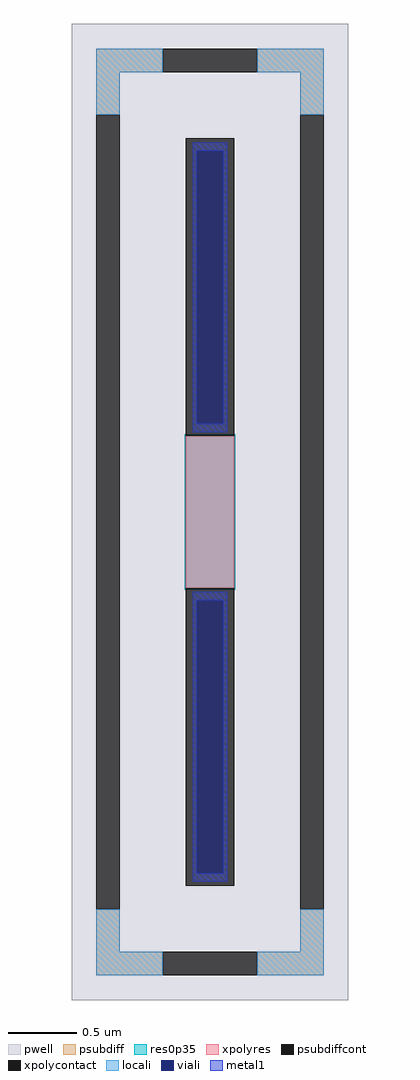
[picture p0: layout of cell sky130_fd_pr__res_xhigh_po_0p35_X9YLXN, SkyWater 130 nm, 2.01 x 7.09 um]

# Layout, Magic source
magic
tech sky130A
magscale 1 2
<< pwell >>
rect -201 -709 201 709
<< psubdiff >>
rect -165 639 -69 673
rect 69 639 165 673
rect -165 577 -131 639
rect 131 577 165 639
rect -165 -639 -131 -577
rect 131 -639 165 -577
rect -165 -673 -69 -639
rect 69 -673 165 -639
<< psubdiffcont >>
rect -69 639 69 673
rect -165 -577 -131 577
rect 131 -577 165 577
rect -69 -673 69 -639
<< xpolycontact >>
rect -35 111 35 543
rect -35 -543 35 -111
<< xpolyres >>
rect -35 -111 35 111
<< locali >>
rect -165 639 -69 673
rect 69 639 165 673
rect -165 577 -131 639
rect 131 577 165 639
rect -165 -639 -131 -577
rect 131 -639 165 -577
rect -165 -673 -69 -639
rect 69 -673 165 -639
<< viali >>
rect -19 128 19 525
rect -19 -525 19 -128
<< metal1 >>
rect -25 525 25 537
rect -25 128 -19 525
rect 19 128 25 525
rect -25 116 25 128
rect -25 -128 25 -116
rect -25 -525 -19 -128
rect 19 -525 25 -128
rect -25 -537 25 -525
<< res0p35 >>
rect -37 -113 37 113
<< properties >>
string FIXED_BBOX -148 -656 148 656
string gencell sky130_fd_pr__res_xhigh_po_0p35
string library sky130
string parameters w 0.350 l 1.11 m 1 nx 1 wmin 0.350 lmin 0.50 rho 2000 val 7.418k dummy 0 dw 0.0 term 188.2 sterm 0.0 caplen 0 wmax 0.350 guard 1 glc 1 grc 1 gtc 1 gbc 1 compatible {sky130_fd_pr__res_xhigh_po_0p35  sky130_fd_pr__res_xhigh_po_0p69 sky130_fd_pr__res_xhigh_po_1p41  sky130_fd_pr__res_xhigh_po_2p85 sky130_fd_pr__res_xhigh_po_5p73} snake 0 full_metal 1 n_guard 0 hv_guard 0 vias 1 viagb 0 viagt 0 viagl 0 viagr 0
<< end >>
